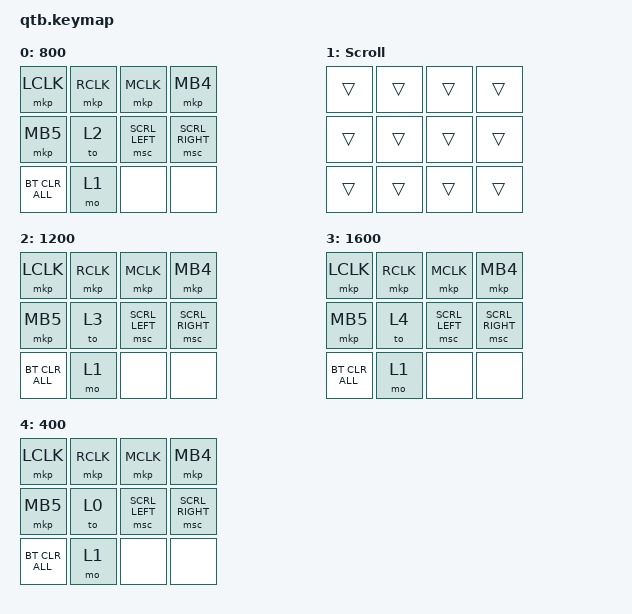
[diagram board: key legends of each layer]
/* qtb.keymap */
#include <behaviors.dtsi>
#include <dt-bindings/zmk/keys.h>
#include <dt-bindings/zmk/bt.h>
#include <dt-bindings/zmk/pointing.h>
#include <input/processors.dtsi>
#include <zephyr/dt-bindings/input/input-event-codes.h>

/ {
    zip_xy_scaler: zip_xy_scaler {
        compatible = "zmk,input-processor-scaler";
        #input-processor-cells = <2>;
        type = <INPUT_EV_REL>;
        codes = <INPUT_REL_X INPUT_REL_Y>;
    };

    zip_scroll_scaler: zip_scroll_scaler {
        compatible = "zmk,input-processor-scaler";
        #input-processor-cells = <2>;
        type = <INPUT_EV_REL>;
        codes = <INPUT_REL_X INPUT_REL_Y>;
    };

    zip_scroll_mapper: zip_scroll_mapper {
        compatible = "zmk,input-processor-code-mapper";
        #input-processor-cells = <0>;
        type = <INPUT_EV_REL>;
        map = <INPUT_REL_Y INPUT_REL_WHEEL>;
    };

    trackball_listener {
        compatible = "zmk,input-listener";
        device = <&trackball>;

        scroll_layer {
            layers = <1>;
            input-processors = <&zip_scroll_scaler (-1) 32>, <&zip_scroll_mapper>;
        };

        layer_1200 {
            layers = <2>;
            input-processors = <&zip_xy_scaler 3 2>;
        };

        layer_1600 {
            layers = <3>;
            input-processors = <&zip_xy_scaler 3 1>;
        };

        layer_400 {
            layers = <4>;
            input-processors = <&zip_xy_scaler 1 2>;
        };

        default_layer {
            layers = <0>;
            input-processors = <&zip_xy_scaler 1 1>;
        };
    };

    keymap {
        compatible = "zmk,keymap";

        /*
         * Layer 0: Default 800 CPI
         *
         *           COL0      COL1      COL2       COL3
         *  ROW0     LCLK      RCLK      MCLK       MB4
         *  ROW1     MB5       CPI切替   左チルト   右チルト
         *  ROW2     BT_CLR    スクロール    (予約)     (予約)
         */
        default_layer {
            display-name = "800";
            bindings = <
                &mkp LCLK              &mkp RCLK   &mkp MCLK   &mkp MB4
                &mkp MB5                &to 2       &msc SCRL_LEFT  &msc SCRL_RIGHT
                &bt BT_CLR_ALL   &mo 1       &none       &none
            >;
        };

        /* Layer 1: スクロールモード（MB5ホールド等で遷移する場合用に予約） */
        scroll_layer {
            display-name = "Scroll";
            bindings = <
                &trans &trans &trans &trans
                &trans &trans &trans &trans
                &trans &trans &trans &trans
            >;
        };

        /* Layer 2: 1200 CPI */
        layer_1200_cpi {
            display-name = "1200";
            bindings = <
                &mkp LCLK              &mkp RCLK   &mkp MCLK   &mkp MB4
                &mkp MB5                &to 3       &msc SCRL_LEFT  &msc SCRL_RIGHT
                &bt BT_CLR_ALL   &mo 1       &none       &none
            >;
        };

        /* Layer 3: 1600 CPI */
        layer_1600_cpi {
            display-name = "1600";
            bindings = <
                &mkp LCLK              &mkp RCLK   &mkp MCLK   &mkp MB4
                &mkp MB5                &to 4       &msc SCRL_LEFT  &msc SCRL_RIGHT
                &bt BT_CLR_ALL   &mo 1       &none       &none
            >;
        };

        /* Layer 4: 400 CPI */
        layer_400_cpi {
            display-name = "400";
            bindings = <
                &mkp LCLK              &mkp RCLK   &mkp MCLK   &mkp MB4
                &mkp MB5                &to 0       &msc SCRL_LEFT  &msc SCRL_RIGHT
                &bt BT_CLR_ALL   &mo 1       &none       &none
            >;
        };
    };
};
